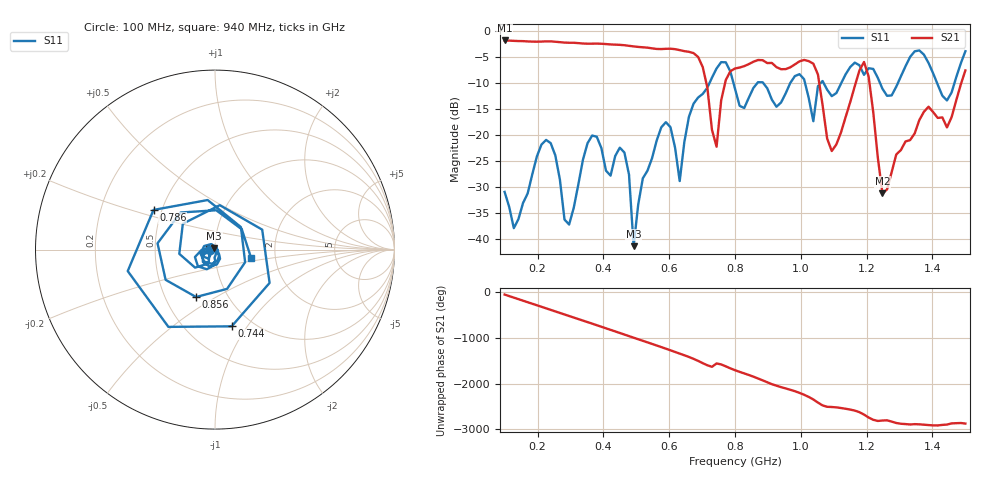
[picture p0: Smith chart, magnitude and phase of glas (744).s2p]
! NanoVNA-App
! Date: 2025-09-25 16:01:16
! Start: 100MHz Stop: 1,5GHz Points: 101
! S-Parameter data: F S11 S21 S12 S22
# Hz S RI R 50
!  Frequency  S11_Real  S11_Imag  S21_Real  S21_Imag  S12_Real  S12_Imag  S22_Real  S22_Imag
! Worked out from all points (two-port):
!   101 points, 100 MHz to 1.5 GHz, reference 50 ohm
!   highest |S21| = -1.80 dB at 100 MHz (marker M1); lowest = -31.2 dB at 1.248 GHz (marker M2)
!   |S21| within 3 dB of the highest: start of sweep to 684.7 MHz
!   lowest |S11| = -41.4 dB at 492 MHz (marker M3), VSWR 1.02, Z = 49.5 + j0.658 ohm
!   |S11| at or under -10 dB: start of sweep to 722.5 MHz; 795.4 MHz to 867.8 MHz (72.39 MHz wide, 8.71 % of centre); 885.9 MHz to 967.7 MHz (81.83 MHz wide, 8.83 % of centre) (the widest 3 of 7)
!   S12 and S22 are empty: the file has one direction only
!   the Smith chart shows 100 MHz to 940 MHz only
!   S11 on the Smith chart (normalised r, x): 100 MHz: 0.94, -0.01; 744 MHz: 0.80, -0.85; 786 MHz: 0.45, +0.24; 856 MHz: 0.71, -0.41; 940 MHz: 1.49, -0.14
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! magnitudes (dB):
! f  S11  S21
! 100 MHz  -30.9  -1.8
! 128 MHz  -37.9  -1.9
! 226 MHz  -20.9  -2.0
! 296 MHz  -37.2  -2.2
! 338 MHz  -24.7  -2.4
! 464 MHz  -23.3  -2.7
! 492 MHz  -41.4  -2.9
! 576 MHz  -18.5  -3.5
! 632 MHz  -28.8  -3.7
! 702 MHz  -12.1  -6.9
! 744 MHz  -7.2  -22.2
! 786 MHz  -7.8  -7.7
! 800 MHz  -11.1  -7.2
! 856 MHz  -10.9  -5.9
! 940 MHz  -13.7  -7.3
! 996 MHz  -8.3  -5.8
! 1.038 GHz  -17.3  -6.3
! 1.094 GHz  -12.5  -23.1
! 1.192 GHz  -8.4  -5.9
! 1.248 GHz  -11.1  -31.2
! 1.276 GHz  -12.4  -27.1
! 1.5 GHz  -3.9  -7.6
